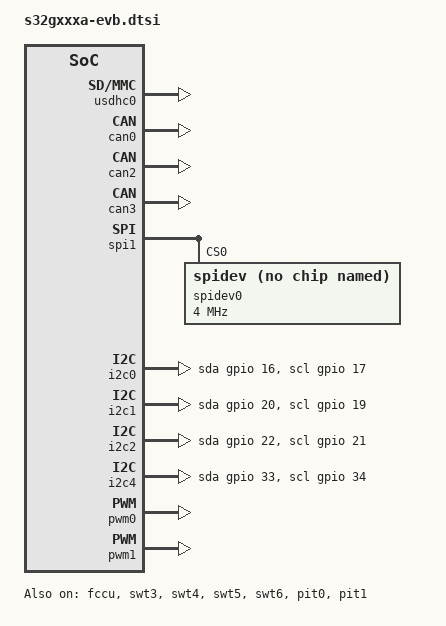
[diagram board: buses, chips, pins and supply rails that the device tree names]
// SPDX-License-Identifier: GPL-2.0-or-later OR MIT
/*
 * Copyright 2019-2023 NXP
 */

#include <dt-bindings/gpio/gpio.h>
#include "s32g-nxp-flash-macronix.dtsi"

/ {
	chosen {
		stdout-path = "serial0:115200n8";
	};
};

&timer {
	clock-frequency = <5000000>;
};

&usdhc0 {
	pinctrl-names = "default", "state_100mhz", "state_200mhz";
	pinctrl-0 = <&sd0_pins_default>;
	pinctrl-1 = <&sd0_pins_100mhz>;
	pinctrl-2 = <&sd0_pins_200mhz>;
	no-1-8-v;
	status = "okay";
};

&can0 {
	pinctrl-names = "default";
	pinctrl-0 = <&can0_pins>;
	status = "okay";
};

&can2 {
	pinctrl-names = "default";
	pinctrl-0 = <&can2_pins>;
	status = "okay";
};

&can3 {
	pinctrl-names = "default";
	pinctrl-0 = <&can3_pins>;
	status = "okay";
};

&fccu {
	status = "okay";
};

&swt3 {
	status = "okay";
};

&swt4 {
	status = "okay";
};

&swt5 {
	status = "okay";
};

&swt6 {
	status = "okay";
};

&pit0 {
	status = "okay";
};

&pit1 {
	status = "okay";
};

&pinctrl {
	can0_pins: can0_pins {
		can0_grp0 {
			pinmux = <S32CC_PINMUX(44, FUNC1)>;
			output-enable;
			slew-rate = <S32CC_GPIO_3V3_SLEW_50MHZ>;
		};

		can0_grp1 {
			pinmux = <S32CC_PINMUX(43, FUNC0)>;
			input-enable;
			slew-rate = <S32CC_GPIO_3V3_SLEW_50MHZ>;
		};

		can0_grp2 {
			pinmux = <S32CC_PINMUX(513, FUNC2)>;
		};
	};

	can2_pins: can2_pins {
		can2_grp0 {
			pinmux = <S32CC_PINMUX(27, FUNC2)>;
			output-enable;
			slew-rate = <S32CC_GPIO_3V3_SLEW_50MHZ>;
		};

		can2_grp1 {
			pinmux = <S32CC_PINMUX(28, FUNC0)>;
			input-enable;
			slew-rate = <S32CC_GPIO_3V3_SLEW_50MHZ>;
		};

		can2_grp2 {
			pinmux = <S32CC_PINMUX(632, FUNC2)>;
		};
	};

	can3_pins: can3_pins {
		can3_grp0 {
			pinmux = <S32CC_PINMUX(25, FUNC2)>;
			output-enable;
			slew-rate = <S32CC_GPIO_3V3_SLEW_50MHZ>;
		};

		can3_grp1 {
			pinmux = <S32CC_PINMUX(26, FUNC0)>;
			input-enable;
			slew-rate = <S32CC_GPIO_3V3_SLEW_50MHZ>;
		};

		can3_grp2 {
			pinmux = <S32CC_PINMUX(633, FUNC2)>;
		};
	};

	dspi1_pins: dspi1_pins {
		dspi1_grp0 {
			pinmux = <S32CC_PINMUX(7, FUNC2)>;
			output-enable;
			input-enable;
			slew-rate = <S32CC_GPIO_3V3_SLEW_50MHZ>;
			bias-pull-up;
		};

		dspi1_grp1 {
			pinmux = <S32CC_PINMUX(6, FUNC2)>;
			output-enable;
			slew-rate = <S32CC_GPIO_3V3_SLEW_50MHZ>;
		};

		dspi1_grp2 {
			pinmux = <S32CC_PINMUX(8, FUNC3)>;
			output-enable;
			input-enable;
			slew-rate = <S32CC_GPIO_3V3_SLEW_50MHZ>;
		};

		dspi1_grp3 {
			pinmux = <S32CC_PINMUX(95, FUNC0)>;
			input-enable;
			slew-rate = <S32CC_GPIO_3V3_SLEW_50MHZ>;
			bias-pull-up;
		};

		dspi1_grp4 {
			pinmux = <S32CC_PINMUX(985, FUNC2)>,
				 <S32CC_PINMUX(986, FUNC2)>,
				 <S32CC_PINMUX(987, FUNC2)>;
		};
	};

	dspi5_pins: dspi5_pins {
		dspi5_grp0 {
			pinmux = <S32CC_PINMUX(9, FUNC3)>;
			output-enable;
			input-enable;
			slew-rate = <S32CC_GPIO_3V3_SLEW_50MHZ>;
		};

		dspi5_grp1 {
			pinmux = <S32CC_PINMUX(10, FUNC0)>;
			input-enable;
			slew-rate = <S32CC_GPIO_3V3_SLEW_50MHZ>;
			bias-pull-up;
		};

		dspi5_grp2 {
			pinmux = <S32CC_PINMUX(1005, FUNC2)>,
				 <S32CC_PINMUX(1006, FUNC2)>,
				 <S32CC_PINMUX(1007, FUNC2)>;
		};

		dspi5_grp3 {
			pinmux = <S32CC_PINMUX(11, FUNC3)>;
			output-enable;
			slew-rate = <S32CC_GPIO_3V3_SLEW_50MHZ>;
		};
		dspi5_grp4 {
			pinmux = <S32CC_PINMUX(12, FUNC3)>;
			output-enable;
			input-enable;
			slew-rate = <S32CC_GPIO_3V3_SLEW_50MHZ>;
			bias-pull-up;
		};
	};

	i2c0_pins: i2c0_pins {
		i2c0_grp0 {
			pinmux = <S32CC_PINMUX(16, FUNC1)>,
				 <S32CC_PINMUX(17, FUNC1)>;
			drive-open-drain;
			output-enable;
			input-enable;
			slew-rate = <S32CC_GPIO_3V3_SLEW_50MHZ>;
		};

		i2c0_grp1 {
			pinmux = <S32CC_PINMUX(565, FUNC2)>,
				 <S32CC_PINMUX(566, FUNC2)>;
		};
	};

	i2c0_gpio_pins: i2c0_gpio_pins {
		i2c0_gpio_grp0 {
			pinmux = <S32CC_PINMUX(16, FUNC0)>,
				 <S32CC_PINMUX(17, FUNC0)>;
			drive-open-drain;
			output-enable;
			slew-rate = <S32CC_GPIO_3V3_SLEW_50MHZ>;
		};

		i2c0_gpio_grp1 {
			pinmux = <S32CC_PINMUX(565, FUNC0)>,
				 <S32CC_PINMUX(566, FUNC0)>;
		};
	};

	i2c1_pins: i2c1_pins {
		i2c1_grp0 {
			pinmux = <S32CC_PINMUX(19, FUNC1)>,
				 <S32CC_PINMUX(20, FUNC1)>;
			drive-open-drain;
			output-enable;
			input-enable;
			slew-rate = <S32CC_GPIO_3V3_SLEW_50MHZ>;
		};

		i2c1_grp1 {
			pinmux = <S32CC_PINMUX(717, FUNC2)>,
				 <S32CC_PINMUX(718, FUNC2)>;
		};
	};

	i2c1_gpio_pins: i2c1_gpio_pins {
		i2c1_gpio_grp0 {
			pinmux = <S32CC_PINMUX(19, FUNC0)>,
				 <S32CC_PINMUX(20, FUNC0)>;
			drive-open-drain;
			output-enable;
			slew-rate = <S32CC_GPIO_3V3_SLEW_50MHZ>;
		};

		i2c1_gpio_grp1 {
			pinmux = <S32CC_PINMUX(717, FUNC0)>,
				 <S32CC_PINMUX(718, FUNC0)>;
		};
	};

	i2c2_pins: i2c2_pins {
		i2c2_grp0 {
			pinmux = <S32CC_PINMUX(21, FUNC1)>,
				 <S32CC_PINMUX(22, FUNC1)>;
			drive-open-drain;
			output-enable;
			input-enable;
			slew-rate = <S32CC_GPIO_3V3_SLEW_50MHZ>;
		};

		i2c2_grp1 {
			pinmux = <S32CC_PINMUX(719, FUNC2)>,
				 <S32CC_PINMUX(720, FUNC2)>;
		};
	};

	i2c2_gpio_pins: i2c2_gpio_pins {
		i2c2_gpio_grp0 {
			pinmux = <S32CC_PINMUX(719, FUNC0)>,
				 <S32CC_PINMUX(720, FUNC0)>;
		};

		i2c2_gpio_grp1 {
			pinmux = <S32CC_PINMUX(21, FUNC0)>,
				 <S32CC_PINMUX(22, FUNC0)>;
			drive-open-drain;
			output-enable;
			slew-rate = <S32CC_GPIO_3V3_SLEW_50MHZ>;
		};
	};

	i2c4_pins: i2c4_pins {
		i2c4_grp0 {
			pinmux = <S32CC_PINMUX(33, FUNC1)>;
			drive-open-drain;
			output-enable;
			input-enable;
			slew-rate = <S32CC_GPIO_3V3_SLEW_50MHZ>;
		};

		i2c4_grp1 {
			pinmux = <S32CC_PINMUX(724, FUNC3)>,
				 <S32CC_PINMUX(723, FUNC3)>;
		};

		i2c4_grp2 {
			pinmux = <S32CC_PINMUX(34, FUNC2)>;
			drive-open-drain;
			output-enable;
			input-enable;
			slew-rate = <S32CC_GPIO_3V3_SLEW_50MHZ>;
		};
	};

	i2c4_gpio_pins: i2c4_gpio_pins {
		i2c4_gpio_grp0 {
			pinmux = <S32CC_PINMUX(33, FUNC0)>,
				 <S32CC_PINMUX(34, FUNC0)>;
			drive-open-drain;
			output-enable;
			slew-rate = <S32CC_GPIO_3V3_SLEW_50MHZ>;
		};

		i2c4_gpio_grp1 {
			pinmux = <S32CC_PINMUX(724, FUNC0)>,
				 <S32CC_PINMUX(723, FUNC0)>;
		};
	};

	ftm0_pins: ftm0_pins {
		ftm0_grp0 {
			pinmux = <S32CC_PINMUX(657, FUNC2)>;
		};

		ftm0_grp1 {
			pinmux = <S32CC_PINMUX(18, FUNC2)>,
				 <S32CC_PINMUX(180, FUNC2)>;
			output-enable;
			input-enable;
			slew-rate = <S32CC_GPIO_3V3_SLEW_50MHZ>;
		};

		ftm0_grp2 {
			pinmux = <S32CC_PINMUX(177, FUNC3)>,
				 <S32CC_PINMUX(181, FUNC3)>;
			output-enable;
			input-enable;
			slew-rate = <S32CC_GPIO_3V3_SLEW_50MHZ>;
		};

		ftm0_grp3 {
			pinmux = <S32CC_PINMUX(656, FUNC4)>;
		};

		ftm0_grp4 {
			pinmux = <S32CC_PINMUX(658, FUNC5)>;
		};

		ftm0_grp5 {
			pinmux = <S32CC_PINMUX(659, FUNC6)>;
		};
	};

	ftm1_pins: ftm1_pins {
		ftm1_grp0 {
			pinmux = <S32CC_PINMUX(29, FUNC3)>;
			output-enable;
			input-enable;
			slew-rate = <S32CC_GPIO_3V3_SLEW_50MHZ>;
		};

		ftm1_grp1 {
			pinmux = <S32CC_PINMUX(667, FUNC4)>;
		};

		ftm1_grp2 {
			pinmux = <S32CC_PINMUX(668, FUNC3)>;
		};

		ftm1_grp3 {
			pinmux = <S32CC_PINMUX(31, FUNC4)>;
			output-enable;
			input-enable;
			slew-rate = <S32CC_GPIO_3V3_SLEW_50MHZ>;
		};

		ftm1_grp4 {
			pinmux = <S32CC_PINMUX(32, FUNC2)>;
			output-enable;
			input-enable;
			slew-rate = <S32CC_GPIO_3V3_SLEW_50MHZ>;
		};

		ftm1_grp5 {
			pinmux = <S32CC_PINMUX(669, FUNC2)>;
		};
	};
};

&spi1 {
	pinctrl-0 = <&dspi1_pins>;
	pinctrl-names = "default";
	#address-cells = <1>;
	#size-cells = <0>;
	status = "okay";

	spidev0: spidev@0 {
		compatible = "rohm,dh2228fv";
		spi-max-frequency = <4000000>;
		reg = <0>;
		fsl,spi-cs-sck-delay = <100>;
		fsl,spi-sck-cs-delay = <100>;
	};
};

&i2c0 {
	pinctrl-names = "default", "gpio";
	pinctrl-0 = <&i2c0_pins>;
	pinctrl-1 = <&i2c0_gpio_pins>;
	scl-gpios = <&gpio 17 (GPIO_ACTIVE_HIGH | GPIO_OPEN_DRAIN)>;
	sda-gpios = <&gpio 16 (GPIO_ACTIVE_HIGH | GPIO_OPEN_DRAIN)>;
	status = "okay";
};

&i2c1 {
	pinctrl-names = "default", "gpio";
	pinctrl-0 = <&i2c1_pins>;
	pinctrl-1 = <&i2c1_gpio_pins>;
	scl-gpios = <&gpio 19 (GPIO_ACTIVE_HIGH | GPIO_OPEN_DRAIN)>;
	sda-gpios = <&gpio 20 (GPIO_ACTIVE_HIGH | GPIO_OPEN_DRAIN)>;
	status = "okay";
};

&i2c2 {
	pinctrl-names = "default", "gpio";
	pinctrl-0 = <&i2c2_pins>;
	pinctrl-1 = <&i2c2_gpio_pins>;
	scl-gpios = <&gpio 21 (GPIO_ACTIVE_HIGH | GPIO_OPEN_DRAIN)>;
	sda-gpios = <&gpio 22 (GPIO_ACTIVE_HIGH | GPIO_OPEN_DRAIN)>;
	status = "okay";
};

&i2c4 {
	pinctrl-names = "default", "gpio";
	pinctrl-0 = <&i2c4_pins>;
	pinctrl-1 = <&i2c4_gpio_pins>;
	scl-gpios = <&gpio 34 (GPIO_ACTIVE_HIGH | GPIO_OPEN_DRAIN)>;
	sda-gpios = <&gpio 33 (GPIO_ACTIVE_HIGH | GPIO_OPEN_DRAIN)>;
	status = "okay";
};

&pwm0 {
	pinctrl-names = "default";
	pinctrl-0 = <&ftm0_pins>;
	status = "okay";
};

&pwm1 {
	pinctrl-names = "default";
	pinctrl-0 = <&ftm1_pins>;
	status = "okay";
};
